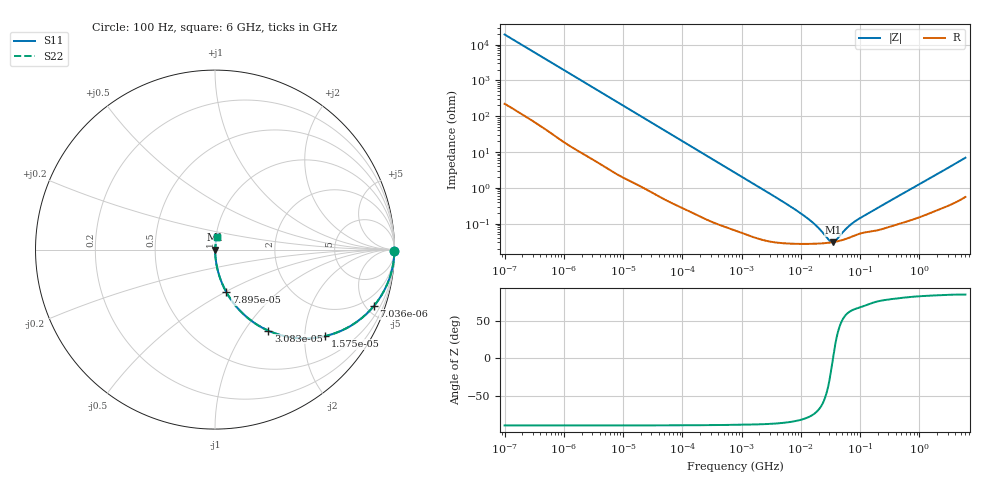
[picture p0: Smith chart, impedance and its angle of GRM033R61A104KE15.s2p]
!Murata Part Number: GRM033R61A104KE15
!These Parameters are Measured in Series Mode Connection
!Data Generated on Mar 30, 2021
!  o--ll--o
!Port1  Port2
!  o------o
!Operation Temp=25[degC], DC Bias Voltage=0[V]
!Freq. Start=100[Hz] Stop=6[GHz] 401[Steps]
# Hz S RI R 50
!Freq.(Hz) S11(Real) S11(Imag) S21(Real) S21(Imag) S12(Real) S12(Imag) S22(Real) S22(Imag)
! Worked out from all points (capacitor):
!   401 points, 100 Hz to 6 GHz, reference 50 ohm
!   read as one part in series: C = 82.4 nF near 109 Hz
!   lowest |Z| = 30.3 mohm at 34.83 MHz (marker M1)
!   series resonance near 34.88 MHz, so ESL is about 250 pH
!   S11 on the Smith chart (normalised r, x): 100 Hz: open; 7.036 kHz: 1.05, -5.63; 15.75 kHz: 1.03, -2.53; 30.83 kHz: 1.01, -1.30; 78.95 kHz: 1.01, -0.51; 6 GHz: 1.01, +0.14
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100  0.9999 -0.00519  8.67e-05 0.00519  8.67e-05 0.00519  0.9999 -0.00519
627  0.9986 -0.032  0.00136 0.032  0.00136 0.032  0.9986 -0.032
2008  0.9887 -0.1009  0.0113 0.1009  0.0113 0.1009  0.9887 -0.1009
4111  0.9567 -0.1988  0.0433 0.1988  0.0433 0.1988  0.9567 -0.1988
7036  0.8856 -0.3136  0.1144 0.3136  0.1144 0.3136  0.8856 -0.3136
10527  0.7781 -0.4106  0.2219 0.4106  0.2219 0.4106  0.7781 -0.4106
15752  0.6135 -0.4817  0.3865 0.4817  0.3865 0.4817  0.6135 -0.4817
21550  0.4616 -0.4931  0.5384 0.4931  0.5384 0.4931  0.4616 -0.4931
30832  0.298 -0.4518  0.702 0.4518  0.702 0.4518  0.298 -0.4518
40335  0.2005 -0.3947  0.7995 0.3947  0.7995 0.3947  0.2005 -0.3947
78952  0.0636 -0.2378  0.9364 0.2378  0.9364 0.2378  0.0636 -0.2378
211427  0.0106 -0.0948  0.9894 0.0948  0.9894 0.0948  0.0106 -0.0948
774597  0.00134 -0.0264  0.9987 0.0264  0.9987 0.0264  0.00134 -0.0264
6353432  0.000286 -0.00317  0.9997 0.00317  0.9997 0.00317  0.000286 -0.00317
1.555665e7  0.000273 -0.00107  0.9997 0.00107  0.9997 0.00107  0.000273 -0.00107
3.045065e7  0.000293 -0.000161  0.9997 0.000161  0.9997 0.000161  0.000293 -0.000161
3.482834e7  0.000303 -1.8e-06  0.9997 1.8e-06  0.9997 1.8e-06  0.000303 -1.8e-06
3.983537e7  0.000315 0.000157  0.9997 -0.000157  0.9997 -0.000157  0.000315 0.000157
5.960426e7  0.000381 0.000644  0.9996 -0.000644  0.9996 -0.000644  0.000381 0.000644
8.154455e7  0.000467 0.00105  0.9995 -0.00105  0.9995 -0.00105  0.000467 0.00105
3.124326e8  0.000827 0.00414  0.9992 -0.00414  0.9992 -0.00414  0.000827 0.00414
6e9  0.0102 0.0679  0.9898 -0.0679  0.9898 -0.0679  0.0102 0.0679
